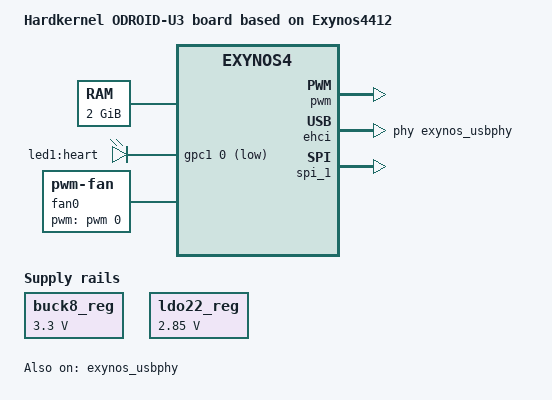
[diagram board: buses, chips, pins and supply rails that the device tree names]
// SPDX-License-Identifier: GPL-2.0
/*
 * Hardkernel's Exynos4412 based ODROID-U3 board device tree source
 *
 * Copyright (c) 2014 Marek Szyprowski <m.szyprowski@samsung.com>
 *
 * Device tree source file for Hardkernel's ODROID-U3 board which is based
 * on Samsung's Exynos4412 SoC.
 */

/dts-v1/;
#include "exynos4412-odroid-common.dtsi"
#include "exynos4412-prime.dtsi"

/ {
	model = "Hardkernel ODROID-U3 board based on Exynos4412";
	compatible = "hardkernel,odroid-u3", "samsung,exynos4412", "samsung,exynos4";

	memory@40000000 {
		device_type = "memory";
		reg = <0x40000000 0x7FF00000>;
	};

	leds {
		compatible = "gpio-leds";
		led1 {
			label = "led1:heart";
			gpios = <&gpc1 0 GPIO_ACTIVE_LOW>;
			default-state = "on";
			linux,default-trigger = "heartbeat";
		};
	};

	fan0: pwm-fan {
		compatible = "pwm-fan";
		pwms = <&pwm 0 10000 0>;
		#cooling-cells = <2>;
		cooling-levels = <0 102 170 230>;
	};

	thermal-zones {
		cpu_thermal: cpu-thermal {
			cooling-maps {
				map0 {
				     trip = <&cpu_alert1>;
				     cooling-device = <&cpu0 10 10>, <&cpu1 10 10>,
						      <&cpu2 10 10>, <&cpu3 10 10>,
						      <&fan0 1 2>;
				};
				map1 {
				     trip = <&cpu_alert2>;
				     cooling-device = <&cpu0 16 16>,
						      <&cpu1 16 16>,
						      <&cpu2 16 16>,
						      <&cpu3 16 16>,
						      <&fan0 2 3>;
				};
				map2 {
				     trip = <&cpu_alert0>;
				     cooling-device = <&fan0 0 1>;
				};
			};
		};
	};
};

&adc {
	vdd-supply = <&ldo10_reg>;
	/* Nothing connected to ADC inputs, keep it disabled */
};

/* On the Odroid-U2/U3 this buck regulator supplies the LAN9730 block. */
&buck8_reg {
	regulator-name = "input_lan9730_3.3V";
	regulator-min-microvolt = <3300000>;
	regulator-max-microvolt = <3300000>;
};

&hdmicec {
	needs-hpd;
};

&exynos_usbphy {
	/* Port 0 is HSIC for LAN9730 */

	/* buck8 enable pin, use it for power sequence */
	reset-gpios = <&gpa1 1 GPIO_ACTIVE_LOW>;
	/*
	 * Reset duration of 500 us was chosen experimentally.
	 * Minimal working value was 400 us. Add some safe margin.
	 */
	reset-duration-us = <500>;

	status = "okay";
};

/* On the Odroid-U2/U3 this buck regulator supplies the core of the eMMC. */
&ldo22_reg {
	regulator-name = "vddf_emmc_2.85V";
	regulator-min-microvolt = <2850000>;
	regulator-max-microvolt = <2850000>;
};

&max77686 {
	pinctrl-0 = <&max77686_irq &max77686_enb8>;
};

&mshc_0 {
	vqmmc-supply = <&ldo22_reg>;
};

&pinctrl_0 {
	max77686_enb8: max77686-enb8 {
		samsung,pins = "gpa1-1";
		samsung,pin-function = <EXYNOS_PIN_FUNC_OUTPUT>;
		samsung,pin-pud = <EXYNOS_PIN_PULL_DOWN>;
		samsung,pin-drv = <EXYNOS4_PIN_DRV_LV1>;
	};
};

&pwm {
	pinctrl-0 = <&pwm0_out>;
	pinctrl-names = "default";
	samsung,pwm-outputs = <0>;
	status = "okay";
};

&usb3503 {
	clock-names = "refclk";
	clocks = <&pmu_system_controller 0>;
	refclk-frequency = <24000000>;
};

&ehci {
	phys = <&exynos_usbphy 2>, <&exynos_usbphy 3>;
	phy-names = "hsic0", "hsic1";
};

&sound {
	model = "Odroid-U3";
	samsung,audio-widgets =
		"Headphone", "Headphone Jack",
		"Speakers", "Speakers";
	samsung,audio-routing =
		"Headphone Jack", "HPL",
		"Headphone Jack", "HPR",
		"Headphone Jack", "MICBIAS",
		"IN1", "Headphone Jack",
		"Speakers", "SPKL",
		"Speakers", "SPKR";
};

&spi_1 {
	pinctrl-names = "default";
	pinctrl-0 = <&spi1_bus>;
	cs-gpios = <&gpb 5 GPIO_ACTIVE_HIGH>;
	status = "okay";
};
